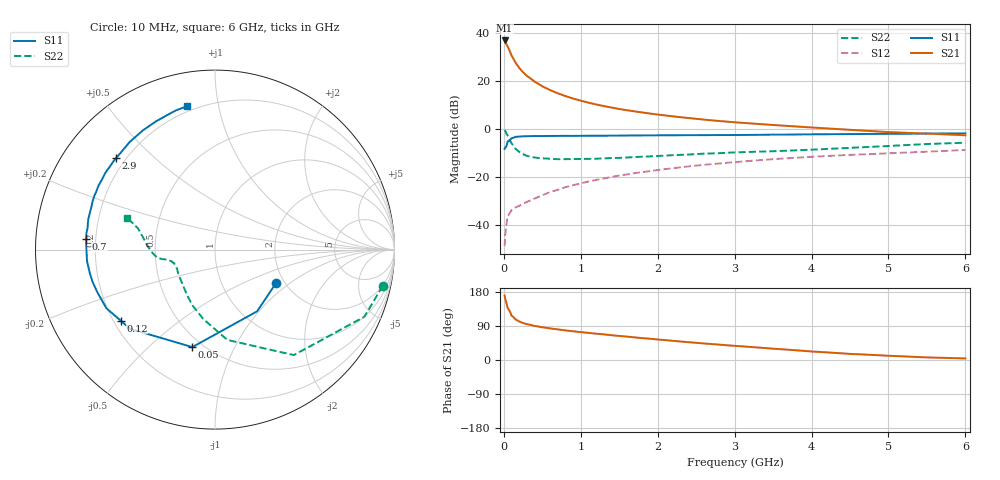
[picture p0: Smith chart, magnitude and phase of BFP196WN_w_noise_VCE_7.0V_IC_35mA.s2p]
! Infineon Technologies  Discrete & RF Semiconductors
! BFP196WN
! VCE =  7.0 V,  IC =  35 mA
! Common Emitter S-Parameters:  Jan 2017
# GHz  S  MA  R  50
!  f  S11  S21  S12  S22
! GHz  MAG  ANG  MAG  ANG  MAG  ANG  MAG  ANG
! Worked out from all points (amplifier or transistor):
!   77 points, 10 MHz to 6 GHz, reference 50 ohm
!   highest |S21| = 36.8 dB at 10 MHz (marker M1)
!   |S21| within 3 dB of that: start of sweep to 57.19 MHz
!   unconditionally stable (mu >= 1): 780.3 MHz to 2.655 GHz
!   at 130 MHz: K = 0.44, MSG = 31.0 dB, |S12| = -33.0 dB
!   at 2.2 GHz: K = 1.02, MAG = 9.8 dB, |S12| = -16.3 dB
!   at 6 GHz: K = 0.90, MSG = 3.1 dB, |S12| = -8.7 dB
!   lowest NFmin = 1.11 dB at 450 MHz
!   S11 on the Smith chart (normalised r, x): 10 MHz: 1.81, -0.79; 50 MHz: 0.44, -0.69; 120 MHz: 0.23, -0.32; 700 MHz: 0.16, +0.04; 2.9 GHz: 0.16, +0.38; 6 GHz: 0.17, +0.81
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0.01  0.388 -28.8  69.02 170.1  0.0037 85.0  0.9564 -12.2
0.02  0.4163 -55.7  64.31 159.7  0.0067 73.7  0.9124 -24.2
0.05  0.5576 -103.1  51.75 136.9  0.0153 56.0  0.7337 -53.2
0.1  0.6465 -136.9  33.57 117.2  0.0206 46.4  0.508 -82.2
0.12  0.6577 -143.0  29.72 114.1  0.0218 45.9  0.4567 -88.1
0.15  0.6876 -151.6  24.16 107.5  0.0235 45.3  0.3918 -99.7
0.2  0.6971 -159.9  18.6 101.6  0.0253 46.6  0.3348 -112.1
0.25  0.7056 -165.3  15.09 97.5  0.0283 48.9  0.3009 -120.6
0.3  0.7097 -169.3  12.68 94.5  0.0306 50.6  0.2773 -127.9
0.4  0.716 -174.8  9.616 89.8  0.036 55.6  0.2564 -137.6
0.5  0.7157 -178.9  7.713 86.4  0.0422 59.2  0.247 -144.6
0.6  0.718 178.0  6.45 83.4  0.0492 60.5  0.2415 -149.6
0.7  0.7202 175.3  5.524 80.8  0.0546 62.8  0.2365 -153.1
0.9  0.72 170.3  4.297 75.8  0.0683 65.0  0.2383 -157.7
1.1  0.726 166.3  3.528 71.6  0.0813 65.6  0.2405 -161.3
1.5  0.7319 159.3  2.609 63.5  0.1081 65.3  0.2519 -165.4
2.1  0.7406 149.4  1.914 52.4  0.1472 62.8  0.281 -168.7
2.9  0.7504 137.3  1.424 38.9  0.1992 57.5  0.3213 -171.9
3.1  0.7532 134.3  1.346 36.0  0.2117 55.9  0.331 -173.5
4.1  0.7775 119.9  1.054 21.3  0.2701 47.9  0.3788 176.1
5.1  0.7969 108.9  0.852 10.4  0.3184 40.5  0.4533 164.0
6  0.814 101.0  0.743 4.1  0.3675 34.5  0.5196 160.5
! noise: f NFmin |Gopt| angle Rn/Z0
0.45  1.11  0.47  179  0.05
0.9  1.24  0.53  186  0.05
1.9  2.17  0.68  212  0.13
2.4  2.91  0.69  219  0.25
